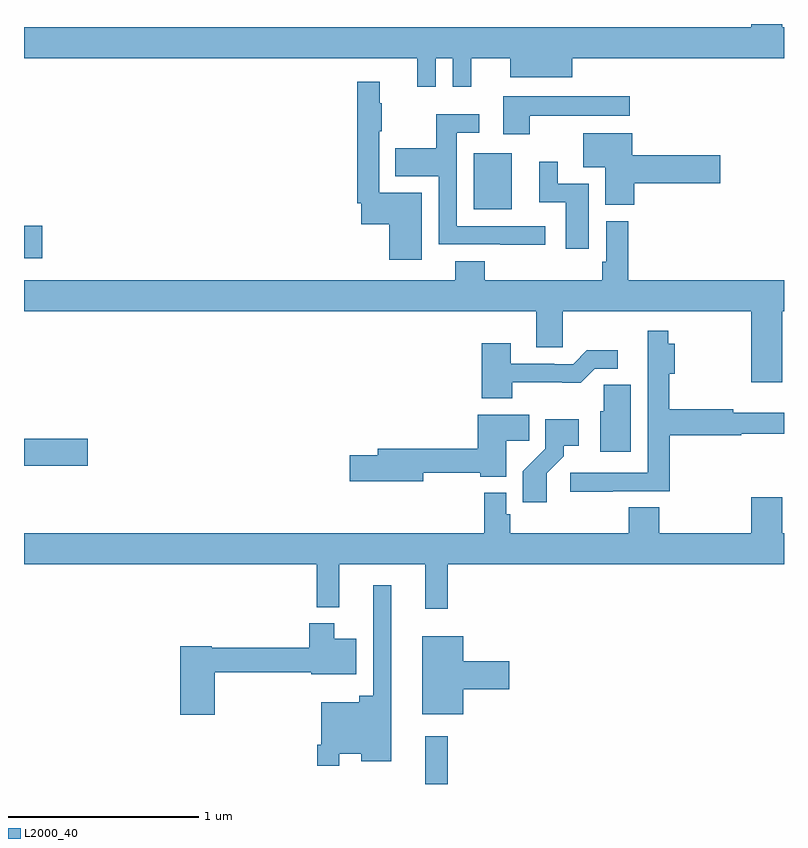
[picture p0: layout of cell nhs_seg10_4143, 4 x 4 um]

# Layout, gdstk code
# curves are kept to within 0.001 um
import gdstk
lib = gdstk.Library(unit=1e-6, precision=1e-09)
def R(c, l, rs):  # rectangles x0, y0, x1, y1
    for r in rs: c.add(gdstk.rectangle(r[:2], r[2:], *l))
def P(c, l, *ps):  # polygons
    for p in ps: c.add(gdstk.Polygon(p, *l))
L2000_40 = (2000, 40)

nhs_seg10_4143 = lib.new_cell('nhs_seg10_4143')
R(nhs_seg10_4143, L2000_40, [(343.112,1292.5,343.229,1292.752), (341,1294.174,341.335,1294.316), (341,1295.267,341.095,1295.438), (343.367,1295.525,343.567,1295.821)])
P(nhs_seg10_4143, L2000_40, [(343.167,1296.32),(343.257,1296.32),(343.257,1296.171),(343.355,1296.171),(343.355,1296.32),(343.559,1296.32),(343.559,1296.221),(343.885,1296.221),(343.885,1296.32),(345,1296.32),(345,1296.484),(344.992,1296.484),(344.992,1296.5),(344.828,1296.5),(344.828,1296.484),(341,1296.484),(341,1296.32),(343.07,1296.32),(343.07,1296.171),(343.167,1296.171)],
  [(343.093,1295.611),(342.87,1295.611),(342.87,1295.935),(342.883,1295.935),(342.883,1296.083),(342.872,1296.083),(342.872,1296.196),(342.754,1296.196),(342.754,1295.557),(342.774,1295.557),(342.774,1295.446),(342.923,1295.446),(342.923,1295.259),(343.093,1295.259)],
  [(343.663,1296.017),(344.188,1296.017),(344.188,1296.121),(343.523,1296.121),(343.523,1295.919),(343.663,1295.919)],
  [(343.744,1295.436),(343.278,1295.436),(343.278,1295.928),(343.396,1295.928),(343.396,1296.025),(343.17,1296.025),(343.17,1295.847),(342.955,1295.847),(342.955,1295.699),(343.182,1295.699),(343.182,1295.34),(343.507,1295.34),(343.507,1295.339),(343.744,1295.339)],
  [(344.213,1295.663),(344.665,1295.663),(344.665,1295.81),(344.2,1295.81),(344.2,1295.926),(343.943,1295.926),(343.943,1295.747),(344.06,1295.747),(344.06,1295.55),(344.213,1295.55)],
  [(343.972,1295.658),(343.81,1295.658),(343.81,1295.776),(343.712,1295.776),(343.712,1295.562),(343.85,1295.562),(343.85,1295.316),(343.972,1295.316)],
  [(344.992,1294.988),(345,1294.988),(345,1295.152),(344.18,1295.152),(344.18,1295.461),(344.064,1295.461),(344.064,1295.248),(344.044,1295.248),(344.044,1295.152),(343.424,1295.152),(343.424,1295.251),(343.271,1295.251),(343.271,1295.152),(341,1295.152),(341,1294.988),(343.697,1294.988),(343.697,1294.798),(343.836,1294.798),(343.836,1294.988),(344.828,1294.988),(344.828,1294.614),(344.992,1294.614)],
  [(344.099,1294.041),(344.399,1294.041),(344.399,1294.336),(344.776,1294.336),(344.776,1294.344),(345,1294.344),(345,1294.453),(344.732,1294.453),(344.732,1294.472),(344.395,1294.472),(344.395,1294.658),(344.424,1294.658),(344.424,1294.816),(344.392,1294.816),(344.392,1294.885),(344.282,1294.885),(344.282,1294.662),(344.283,1294.662),(344.283,1294.137),(343.875,1294.137),(343.875,1294.039),(344.099,1294.039)],
  [(343.569,1294.614),(343.931,1294.613),(344.004,1294.686),(344.125,1294.686),(344.125,1294.783),(343.963,1294.783),(343.89,1294.71),(343.79,1294.71),(343.79,1294.713),(343.561,1294.713),(343.561,1294.819),(343.409,1294.819),(343.409,1294.529),(343.569,1294.529)],
  [(344.194,1294.601),(344.052,1294.601),(344.052,1294.461),(344.033,1294.461),(344.033,1294.248),(344.194,1294.248)],
  [(343.102,1294.137),(343.4,1294.137),(343.4,1294.118),(343.537,1294.118),(343.537,1294.306),(343.658,1294.306),(343.658,1294.444),(343.388,1294.444),(343.388,1294.265),(342.863,1294.265),(342.863,1294.229),(342.714,1294.229),(342.714,1294.094),(343.102,1294.094)],
  [(343.75,1294.135),(343.84,1294.225),(343.84,1294.28),(343.921,1294.28),(343.921,1294.42),(343.743,1294.42),(343.743,1294.265),(343.624,1294.146),(343.624,1293.984),(343.75,1293.984)],
  [(343.229,1293.656),(345,1293.656),(345,1293.82),(344.992,1293.82),(344.992,1294.009),(344.828,1294.009),(344.828,1293.82),(344.343,1293.82),(344.343,1293.956),(344.183,1293.956),(344.183,1293.82),(343.559,1293.82),(343.559,1293.921),(343.539,1293.921),(343.539,1294.033),(343.423,1294.033),(343.423,1293.82),(341,1293.82),(341,1293.656),(342.541,1293.656),(342.541,1293.431),(342.659,1293.431),(342.659,1293.656),(343.112,1293.656),(343.112,1293.423),(343.229,1293.423)],
  [(342.66,1292.66),(342.776,1292.66),(342.776,1292.621),(342.934,1292.621),(342.934,1293.547),(342.837,1293.547),(342.837,1292.965),(342.764,1292.965),(342.764,1292.929),(342.564,1292.929),(342.564,1292.707),(342.544,1292.707),(342.544,1292.595),(342.66,1292.595)],
  [(342.005,1293.088),(342.512,1293.088),(342.512,1293.077),(342.748,1293.077),(342.748,1293.265),(342.634,1293.265),(342.634,1293.346),(342.5,1293.346),(342.5,1293.217),(341.988,1293.217),(341.988,1293.225),(341.822,1293.225),(341.822,1292.865),(342.005,1292.865)],
  [(343.312,1292.999),(343.555,1292.999),(343.555,1293.146),(343.312,1293.146),(343.312,1293.277),(343.097,1293.277),(343.097,1292.867),(343.312,1292.867)])

lib.write_gds('nhs_seg10_4143.gds')
